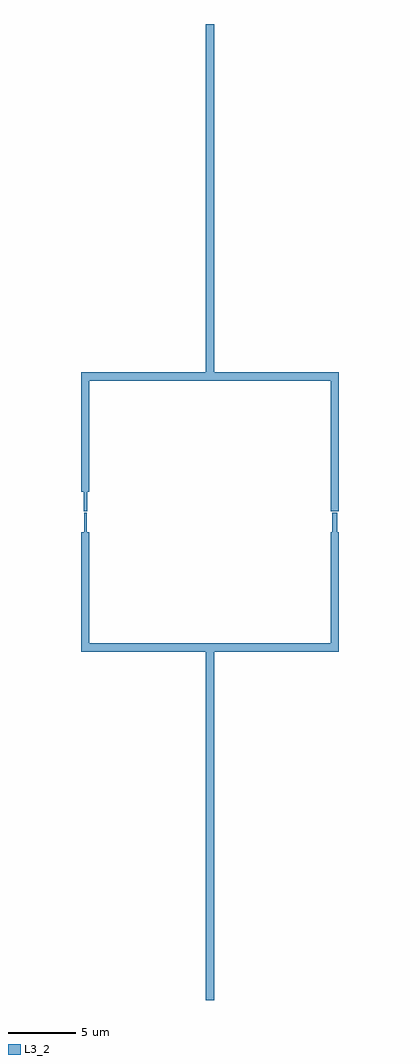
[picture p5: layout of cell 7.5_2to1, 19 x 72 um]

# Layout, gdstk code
import gdstk
lib = gdstk.Library(unit=1e-6, precision=1e-09)
def R(c, l, rs):  # rectangles x0, y0, x1, y1
    for r in rs: c.add(gdstk.rectangle(r[:2], r[2:], *l))
L3_2 = (3, 2)

c_7_5_2to1 = lib.new_cell('7.5_2to1')
R(c_7_5_2to1, L3_2, [(-0.375,-36,0.225,-10.3), (-9.575,-10.3,9.425,-9.7), (-9.575,-9.7,-8.975,-1.5), (8.825,-9.7,9.425,-1.5), (-9.365,-1.5,-9.185,-0.065), (8.945,-1.5,9.305,-0.065), (-9.405,0.065,-9.145,1.5), (8.825,0.065,9.425,1.5), (-9.575,1.5,-8.975,9.7), (8.825,1.5,9.425,9.7), (-9.575,9.7,9.425,10.3), (-0.375,10.3,0.225,36)])

lib.write_gds('7.5_2to1.gds')
